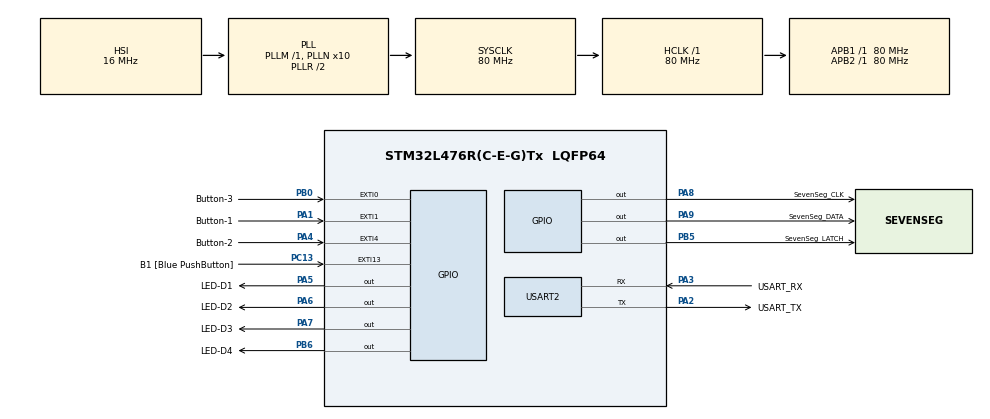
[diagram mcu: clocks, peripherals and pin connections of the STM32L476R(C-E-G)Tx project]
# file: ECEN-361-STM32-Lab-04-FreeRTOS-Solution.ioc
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FREERTOS.Tasks01=defaultTask,24,128,StartDefaultTask,Default,NULL,Dynamic,NULL,NULL
FREERTOS.configTOTAL_HEAP_SIZE=15000
FREERTOS.configUSE_NEWLIB_REENTRANT=1
Mcu.Family=STM32L4
Mcu.Name=STM32L476R(C-E-G)Tx
Mcu.Package=LQFP64
NVIC.EXTI0_IRQn=true\:5\:0\:false\:false\:true\:true\:true\:true\:true
NVIC.EXTI1_IRQn=true\:5\:0\:false\:false\:true\:true\:true\:true\:true
NVIC.EXTI4_IRQn=true\:5\:0\:false\:false\:true\:true\:true\:true\:true
NVIC.PriorityGroup=NVIC_PRIORITYGROUP_4
NVIC.TIM1_TRG_COM_TIM17_IRQn=true\:5\:0\:false\:false\:true\:true\:true\:true\:true
PA0.Signal=ADCx_IN5
PA1.GPIO_Label=Button-1
PA1.GPIO_ModeDefaultEXTI=GPIO_MODE_IT_FALLING
PA1.Signal=GPXTI1
PA13\ (JTMS-SWDIO).GPIO_Label=TMS
PA13\ (JTMS-SWDIO).Mode=Serial_Wire
PA13\ (JTMS-SWDIO).Signal=SYS_JTMS-SWDIO
PA14\ (JTCK-SWCLK).GPIO_Label=TCK
PA14\ (JTCK-SWCLK).Mode=Serial_Wire
PA14\ (JTCK-SWCLK).Signal=SYS_JTCK-SWCLK
PA2.GPIO_Label=USART_TX
PA2.GPIO_Mode=GPIO_MODE_AF_PP
PA2.GPIO_PuPd=GPIO_NOPULL
PA2.GPIO_Speed=GPIO_SPEED_FREQ_VERY_HIGH
PA2.Mode=Asynchronous
PA2.Signal=USART2_TX
PA3.GPIO_Label=USART_RX
PA3.GPIO_Mode=GPIO_MODE_AF_PP
PA3.GPIO_PuPd=GPIO_NOPULL
PA3.GPIO_Speed=GPIO_SPEED_FREQ_VERY_HIGH
PA3.Mode=Asynchronous
PA3.Signal=USART2_RX
PA4.GPIO_Label=Button-2
PA4.GPIO_ModeDefaultEXTI=GPIO_MODE_IT_FALLING
PA4.Signal=GPXTI4
PA5.GPIO_Label=LED-D1
PA5.GPIO_ModeDefaultOutputPP=GPIO_MODE_OUTPUT_OD
PA5.GPIO_PuPd=GPIO_PULLUP
PA5.GPIO_Speed=GPIO_SPEED_FREQ_VERY_HIGH
PA5.PinState=GPIO_PIN_SET
PA5.Signal=GPIO_Output
PA6.GPIO_Label=LED-D2
PA6.GPIO_ModeDefaultOutputPP=GPIO_MODE_OUTPUT_OD
PA6.GPIO_PuPd=GPIO_PULLUP
PA6.GPIO_Speed=GPIO_SPEED_FREQ_LOW
PA6.PinState=GPIO_PIN_RESET
PA6.Signal=GPIO_Output
PA7.GPIO_Label=LED-D3
PA7.GPIO_ModeDefaultOutputPP=GPIO_MODE_OUTPUT_OD
PA7.GPIO_PuPd=GPIO_PULLUP
PA7.Signal=GPIO_Output
PA8.GPIO_Label=SevenSeg_CLK
PA8.Signal=GPIO_Output
PA9.GPIO_Label=SevenSeg_DATA
PA9.Signal=GPIO_Output
PB0.GPIO_Label=Button-3
PB0.GPIO_ModeDefaultEXTI=GPIO_MODE_IT_FALLING
PB0.Signal=GPXTI0
PB3\ (JTDO-TRACESWO).Signal=SYS_JTDO-SWO
PB5.GPIO_Label=SevenSeg_LATCH
PB5.Signal=GPIO_Output
PB6.GPIO_Label=LED-D4
PB6.GPIO_ModeDefaultOutputPP=GPIO_MODE_OUTPUT_OD
PB6.GPIO_PuPd=GPIO_PULLUP
PB6.Signal=GPIO_Output
PC1.GPIO_Label=LM35_IN
PC1.Signal=ADCx_IN2
PC13.GPIO_Label=B1 [Blue PushButton]
PC13.GPIO_ModeDefaultEXTI=GPIO_MODE_IT_FALLING
PC13.GPIO_PuPd=GPIO_NOPULL
PC13.Signal=GPXTI13
PC14-OSC32_IN\ (PC14).Mode=LSE-External-Oscillator
PC14-OSC32_IN\ (PC14).Signal=RCC_OSC32_IN
PC15-OSC32_OUT\ (PC15).Mode=LSE-External-Oscillator
PC15-OSC32_OUT\ (PC15).Signal=RCC_OSC32_OUT
PH0-OSC_IN\ (PH0).Signal=RCC_OSC_IN
PH1-OSC_OUT\ (PH1).Signal=RCC_OSC_OUT
ProjectManager.HeapSize=0x200
ProjectManager.StackSize=0x400
ProjectManager.TargetToolchain=STM32CubeIDE
RCC.ADCFreq_Value=64000000
RCC.AHBFreq_Value=80000000
RCC.APB1Freq_Value=80000000
RCC.APB1TimFreq_Value=80000000
RCC.APB2Freq_Value=80000000
RCC.APB2TimFreq_Value=80000000
RCC.CortexFreq_Value=80000000
RCC.HCLKFreq_Value=80000000
RCC.HSE_VALUE=8000000
RCC.HSI_VALUE=16000000
RCC.MSI_VALUE=4000000
RCC.PLLN=10
RCC.PLLSourceVirtual=RCC_PLLSOURCE_HSI
RCC.PREFETCH_ENABLE=1
RCC.SYSCLKFreq_VALUE=80000000
RCC.SYSCLKSource=RCC_SYSCLKSOURCE_PLLCLK
RCC.USBFreq_Value=64000000
RCC.VCOOutputFreq_Value=160000000
SH.ADCx_IN2.0=ADC1_IN2
SH.ADCx_IN5.0=ADC2_IN5
TIM17.Period=100
TIM17.Prescaler=800-1
USART2.VirtualMode-Asynchronous=VM_ASYNC
VP_FREERTOS_VS_CMSIS_V2.Mode=CMSIS_V2
VP_TIM17_VS_ClockSourceINT.Mode=Enable_Timer
board=NUCLEO-L476RG

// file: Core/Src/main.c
/* USER CODE BEGIN Header */
/**
  ******************************************************************************
  * @file           : main.c
  * @brief          : Main program body
  ******************************************************************************
  * @attention
  *
  * Copyright (c) 2023 STMicroelectronics.
  * All rights reserved.
  *
  * This software is licensed under terms that can be found in the LICENSE file
  * in the root directory of this software component.
  * If no LICENSE file comes with this software, it is provided AS-IS.
  *
  *
  *
  ******************************************************************************
  * @copyright	BYU-Idaho
  * @date		2023
  * @version	F23
  * @note		For course ECEN-361
  * @author		Lynn Watson
  ******************************************************************************
  *
  * Student should only modify code between
  ************** STUDENT EDITABLE HERE STARTS HERE *****
  ************** STUDENT EDITABLE HERE ENDS HERE *******
  *
  ******************************************************************************
  */
/* USER CODE END Header */
#include "main.h"
#include "cmsis_os.h"

/* USER CODE BEGIN Includes */
#include "MultiFunctionShield.h"
#include <stdbool.h>
/* USER CODE END Includes */

/* USER CODE BEGIN PD */
#define D2_TIME 500   // D2 blinks every 500ms
#define D3_TIME 250   // D3 blinks every 250ms
#define D4_TIME 125   // D4 blinks every 125ms
#define SEVENSEG_TIME 1500 // 7-segment increments every 1500ms
#define REFRESH_TIME 5 // 7-segment refresh every 5ms (extra credit)
/* USER CODE END PD */

TIM_HandleTypeDef htim17;

UART_HandleTypeDef huart2;

/* Definitions for defaultTask */
osThreadId_t defaultTaskHandle;
const osThreadAttr_t defaultTask_attributes = {
  .name = "defaultTask",
  .stack_size = 128 * 4,
  .priority = (osPriority_t) osPriorityNormal,
};
/* USER CODE BEGIN PV */
osThreadId_t D2TaskHandle; // Handle for D2 task (for suspension)
volatile uint16_t sevenSegCount = 0; // Global 7-segment counter
volatile uint32_t sevenSegDelay = SEVENSEG_TIME; // Adjustable delay for 7-segment
/* USER CODE END PV */

void SystemClock_Config(void);
static void MX_GPIO_Init(void);
static void MX_USART2_UART_Init(void);
static void MX_TIM17_Init(void);
void StartDefaultTask(void *argument);

/* USER CODE BEGIN PFP */
/*************  Task-Creation-Part-A ******************/
/******** put any addtional task declarations in here ***********/
void D2_Task(void *argument); // Default task at lab start

/************** STUDENT EDITABLE HERE STARTS HERE *****/
void D3_Task(void *argument);
void D4_Task(void *argument);
void SevenSeg_Task(void *argument);
void SevenSeg_Refresh_Task(void *argument); // Extra credit: replace TIM17
/************** STUDENT EDITABLE HERE ENDS HERE *******/
/* USER CODE END PFP */

int main(void)
{

  /* MCU Configuration--------------------------------------------------------*/

  /* Reset of all peripherals, Initializes the Flash interface and the Systick. */
  HAL_Init();

  /* Configure the system clock */
  SystemClock_Config();

  /* Initialize all configured peripherals */
  MX_GPIO_Init();
  MX_USART2_UART_Init();
  MX_TIM17_Init();
  /* USER CODE BEGIN 2 */
  MultiFunctionShield_Clear();
  Clear_LEDs(); // Clear all LEDs (D1 unused due to Nucleo conflict)
  // TIM17 disabled for extra credit; refresh handled by task
  /* USER CODE END 2 */

  /* Init scheduler */
  osKernelInitialize();

  /* Create the thread(s) */
  /* creation of defaultTask */
  defaultTaskHandle = osThreadNew(StartDefaultTask, NULL, &defaultTask_attributes);

  /* USER CODE BEGIN RTOS_THREADS */
  /*************  Task-Creation-Part-C *****************/
  D2TaskHandle = osThreadNew(D2_Task, NULL, &defaultTask_attributes);
  osThreadNew(D3_Task, NULL, &defaultTask_attributes);
  osThreadNew(D4_Task, NULL, &defaultTask_attributes);
  osThreadNew(SevenSeg_Task, NULL, &defaultTask_attributes);
  osThreadNew(SevenSeg_Refresh_Task, NULL, &defaultTask_attributes);
  /************** STUDENT EDITABLE HERE ENDS HERE *******/
  /* USER CODE END RTOS_THREADS */

  /* USER CODE BEGIN RTOS_EVENTS */
  MultiFunctionShield_Display(4444); // Lab-04: show 4444 to start
  /* USER CODE END RTOS_EVENTS */

  /* Start scheduler */
  osKernelStart();

  /* We should never get here as control is now taken by the scheduler */
  /* Infinite loop */
  while (1)
  {
  }
}

void SystemClock_Config(void)
{
  RCC_OscInitTypeDef RCC_OscInitStruct = {0};
  RCC_ClkInitTypeDef RCC_ClkInitStruct = {0};

  /** Configure the main internal regulator output voltage
  */
  if (HAL_PWREx_ControlVoltageScaling(PWR_REGULATOR_VOLTAGE_SCALE1) != HAL_OK)
  {
    Error_Handler();
  }

  /** Initializes the RCC Oscillators according to the specified parameters
  * in the RCC_OscInitTypeDef structure.
  */
  RCC_OscInitStruct.OscillatorType = RCC_OSCILLATORTYPE_HSI;
  RCC_OscInitStruct.HSIState = RCC_HSI_ON;
  RCC_OscInitStruct.HSICalibrationValue = RCC_HSICALIBRATION_DEFAULT;
  RCC_OscInitStruct.PLL.PLLState = RCC_PLL_ON;
  RCC_OscInitStruct.PLL.PLLSource = RCC_PLLSOURCE_HSI;
  RCC_OscInitStruct.PLL.PLLM = 1;
  RCC_OscInitStruct.PLL.PLLN = 10;
  RCC_OscInitStruct.PLL.PLLP = RCC_PLLP_DIV7;
  RCC_OscInitStruct.PLL.PLLQ = RCC_PLLQ_DIV2;
  RCC_OscInitStruct.PLL.PLLR = RCC_PLLR_DIV2;
  if (HAL_RCC_OscConfig(&RCC_OscInitStruct) != HAL_OK)
  {
    Error_Handler();
  }

  /** Initializes the CPU, AHB and APB buses clocks
  */
  RCC_ClkInitStruct.ClockType = RCC_CLOCKTYPE_HCLK|RCC_CLOCKTYPE_SYSCLK
                              |RCC_CLOCKTYPE_PCLK1|RCC_CLOCKTYPE_PCLK2;
  RCC_ClkInitStruct.SYSCLKSource = RCC_SYSCLKSOURCE_PLLCLK;
  RCC_ClkInitStruct.AHBCLKDivider = RCC_SYSCLK_DIV1;
  RCC_ClkInitStruct.APB1CLKDivider = RCC_HCLK_DIV1;
  RCC_ClkInitStruct.APB2CLKDivider = RCC_HCLK_DIV1;

  if (HAL_RCC_ClockConfig(&RCC_ClkInitStruct, FLASH_LATENCY_4) != HAL_OK)
  {
    Error_Handler();
  }
}

static void MX_TIM17_Init(void)
{

  htim17.Instance = TIM17;
  htim17.Init.Prescaler = 800-1;
  htim17.Init.CounterMode = TIM_COUNTERMODE_UP;
  htim17.Init.Period = 100;
  htim17.Init.ClockDivision = TIM_CLOCKDIVISION_DIV1;
  htim17.Init.RepetitionCounter = 0;
  htim17.Init.AutoReloadPreload = TIM_AUTORELOAD_PRELOAD_DISABLE;
  if (HAL_TIM_Base_Init(&htim17) != HAL_OK)
  {
    Error_Handler();
  }
}

static void MX_USART2_UART_Init(void)
{

  huart2.Instance = USART2;
  huart2.Init.BaudRate = 115200;
  huart2.Init.WordLength = UART_WORDLENGTH_8B;
  huart2.Init.StopBits = UART_STOPBITS_1;
  huart2.Init.Parity = UART_PARITY_NONE;
  huart2.Init.Mode = UART_MODE_TX_RX;
  huart2.Init.HwFlowCtl = UART_HWCONTROL_NONE;
  huart2.Init.OverSampling = UART_OVERSAMPLING_16;
  huart2.Init.OneBitSampling = UART_ONE_BIT_SAMPLE_DISABLE;
  huart2.AdvancedInit.AdvFeatureInit = UART_ADVFEATURE_NO_INIT;
  if (HAL_UART_Init(&huart2) != HAL_OK)
  {
    Error_Handler();
  }
}

static void MX_GPIO_Init(void)
{
  GPIO_InitTypeDef GPIO_InitStruct = {0};

  /* GPIO Ports Clock Enable */
  __HAL_RCC_GPIOC_CLK_ENABLE();
  __HAL_RCC_GPIOH_CLK_ENABLE();
  __HAL_RCC_GPIOA_CLK_ENABLE();
  __HAL_RCC_GPIOB_CLK_ENABLE();

  /*Configure GPIO pin Output Level */
  HAL_GPIO_WritePin(LED_D1_GPIO_Port, LED_D1_Pin, GPIO_PIN_SET);

  /*Configure GPIO pin Output Level */
  HAL_GPIO_WritePin(GPIOA, LED_D2_Pin|LED_D3_Pin|SevenSeg_CLK_Pin|SevenSeg_DATA_Pin, GPIO_PIN_RESET);

  /*Configure GPIO pin Output Level */
  HAL_GPIO_WritePin(GPIOB, SevenSeg_LATCH_Pin|LED_D4_Pin, GPIO_PIN_RESET);

  /*Configure GPIO pin : B1_Pin */
  GPIO_InitStruct.Pin = B1_Pin;
  GPIO_InitStruct.Mode = GPIO_MODE_IT_FALLING;
  GPIO_InitStruct.Pull = GPIO_NOPULL;
  HAL_GPIO_Init(B1_GPIO_Port, &GPIO_InitStruct);

  /*Configure GPIO pin : LM35_IN_Pin */
  GPIO_InitStruct.Pin = LM35_IN_Pin;
  GPIO_InitStruct.Mode = GPIO_MODE_ANALOG_ADC_CONTROL;
  GPIO_InitStruct.Pull = GPIO_NOPULL;
  HAL_GPIO_Init(LM35_IN_GPIO_Port, &GPIO_InitStruct);

  /*Configure GPIO pin : PA0 */
  GPIO_InitStruct.Pin = GPIO_PIN_0;
  GPIO_InitStruct.Mode = GPIO_MODE_ANALOG_ADC_CONTROL;
  GPIO_InitStruct.Pull = GPIO_NOPULL;
  HAL_GPIO_Init(GPIOA, &GPIO_InitStruct);

  /*Configure GPIO pins : Button_1_Pin Button_2_Pin */
  GPIO_InitStruct.Pin = Button_1_Pin|Button_2_Pin;
  GPIO_InitStruct.Mode = GPIO_MODE_IT_FALLING;
  GPIO_InitStruct.Pull = GPIO_NOPULL;
  HAL_GPIO_Init(GPIOA, &GPIO_InitStruct);

  /*Configure GPIO pin : LED_D1_Pin */
  GPIO_InitStruct.Pin = LED_D1_Pin;
  GPIO_InitStruct.Mode = GPIO_MODE_OUTPUT_OD;
  GPIO_InitStruct.Pull = GPIO_PULLUP;
  GPIO_InitStruct.Speed = GPIO_SPEED_FREQ_VERY_HIGH;
  HAL_GPIO_Init(LED_D1_GPIO_Port, &GPIO_InitStruct);

  /*Configure GPIO pins : LED_D2_Pin LED_D3_Pin */
  GPIO_InitStruct.Pin = LED_D2_Pin|LED_D3_Pin;
  GPIO_InitStruct.Mode = GPIO_MODE_OUTPUT_OD;
  GPIO_InitStruct.Pull = GPIO_PULLUP;
  GPIO_InitStruct.Speed = GPIO_SPEED_FREQ_LOW;
  HAL_GPIO_Init(GPIOA, &GPIO_InitStruct);

  /*Configure GPIO pin : Button_3_Pin */
  GPIO_InitStruct.Pin = Button_3_Pin;
  GPIO_InitStruct.Mode = GPIO_MODE_IT_FALLING;
  GPIO_InitStruct.Pull = GPIO_NOPULL;
  HAL_GPIO_Init(Button_3_GPIO_Port, &GPIO_InitStruct);

  /*Configure GPIO pins : SevenSeg_CLK_Pin SevenSeg_DATA_Pin */
  GPIO_InitStruct.Pin = SevenSeg_CLK_Pin|SevenSeg_DATA_Pin;
  GPIO_InitStruct.Mode = GPIO_MODE_OUTPUT_PP;
  GPIO_InitStruct.Pull = GPIO_NOPULL;
  GPIO_InitStruct.Speed = GPIO_SPEED_FREQ_LOW;
  HAL_GPIO_Init(GPIOA, &GPIO_InitStruct);

  /*Configure GPIO pin : SevenSeg_LATCH_Pin */
  GPIO_InitStruct.Pin = SevenSeg_LATCH_Pin;
  GPIO_InitStruct.Mode = GPIO_MODE_OUTPUT_PP;
  GPIO_InitStruct.Pull = GPIO_NOPULL;
  GPIO_InitStruct.Speed = GPIO_SPEED_FREQ_LOW;
  HAL_GPIO_Init(SevenSeg_LATCH_GPIO_Port, &GPIO_InitStruct);

  /*Configure GPIO pin : LED_D4_Pin */
  GPIO_InitStruct.Pin = LED_D4_Pin;
  GPIO_InitStruct.Mode = GPIO_MODE_OUTPUT_OD;
  GPIO_InitStruct.Pull = GPIO_PULLUP;
  GPIO_InitStruct.Speed = GPIO_SPEED_FREQ_LOW;
  HAL_GPIO_Init(LED_D4_GPIO_Port, &GPIO_InitStruct);

  /* EXTI interrupt init*/
  HAL_NVIC_SetPriority(EXTI0_IRQn, 5, 0);
  HAL_NVIC_EnableIRQ(EXTI0_IRQn);

  HAL_NVIC_SetPriority(EXTI1_IRQn, 5, 0);
  HAL_NVIC_EnableIRQ(EXTI1_IRQn);

  HAL_NVIC_SetPriority(EXTI4_IRQn, 5, 0);
  HAL_NVIC_EnableIRQ(EXTI4_IRQn);

}

/* USER CODE BEGIN 4 */
void HAL_GPIO_EXTI_Callback(uint16_t GPIO_Pin)
{
  if (GPIO_Pin == Button_1_Pin) // Extra credit: Double 7-segment counter frequency
  {
    sevenSegDelay /= 2; // Halve delay to double frequency
    if (sevenSegDelay < 100) sevenSegDelay = SEVENSEG_TIME; // Reset to default if too fast
  }
}

void D2_Task(void *argument)
{
  while(true)
  {
    HAL_GPIO_TogglePin(LED_D2_GPIO_Port, LED_D2_Pin);
    osDelay(D2_TIME);
  }
}

/************** STUDENT EDITABLE HERE STARTS HERE *****/
void D3_Task(void *argument)
{
  while(true)
  {
    HAL_GPIO_TogglePin(LED_D3_GPIO_Port, LED_D3_Pin);
    osDelay(D3_TIME);
  }
}

void D4_Task(void *argument)
{
  while(true)
  {
    HAL_GPIO_TogglePin(LED_D4_GPIO_Port, LED_D4_Pin);
    osDelay(D4_TIME);
  }
}

void SevenSeg_Task(void *argument)
{
  while(true)
  {
    MultiFunctionShield_Display(sevenSegCount);
    sevenSegCount++;
    if (sevenSegCount == 20) // Extra credit: Suspend D2 at count 20
    {
      vTaskSuspend(D2TaskHandle);
    }
    osDelay(sevenSegDelay); // Use adjustable delay
  }
}

void SevenSeg_Refresh_Task(void *argument)
{
  while(true)
  {
    MultiFunctionShield__ISRFunc(); // Refresh all digits
    osDelay(REFRESH_TIME); // 5ms for smooth display
  }
}
/************** STUDENT EDITABLE HERE ENDS HERE *******/
/* USER CODE END 4 */

void StartDefaultTask(void *argument)
{
  /* USER CODE BEGIN 5 */
  /* Modified to toggle LED_D4 per Part 1.2 */
  for(;;)
  {
    HAL_GPIO_TogglePin(LED_D4_GPIO_Port, LED_D4_Pin);
    osDelay(2000); // 2s period for default task
  }
  osThreadTerminate(NULL);
  /* USER CODE END 5 */
}

void Error_Handler(void)
{
  __disable_irq();
  while (1)
  {
  }
}
